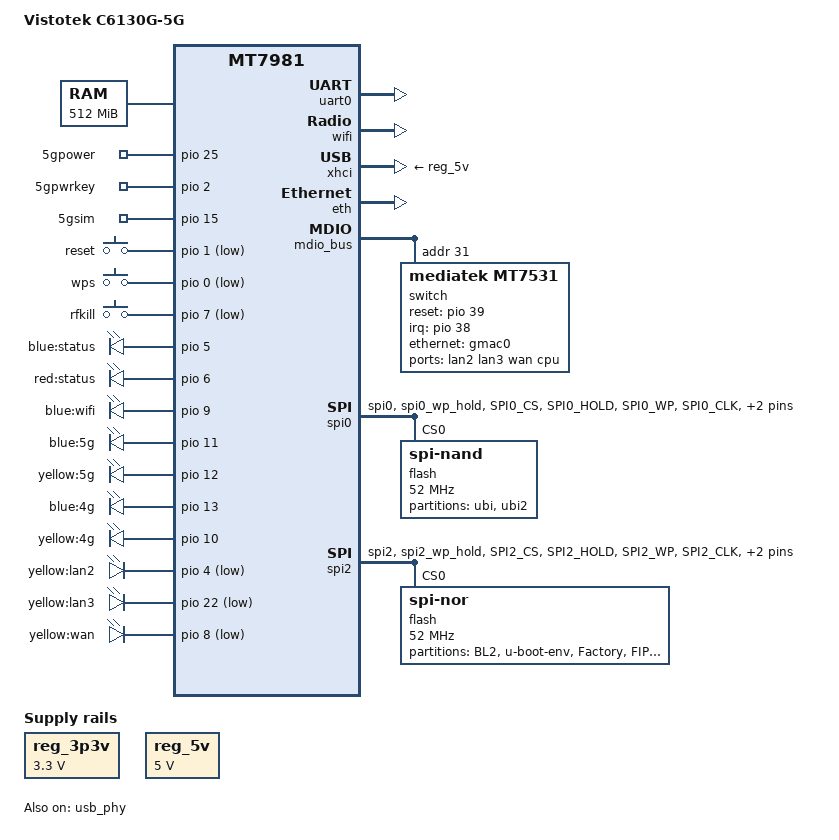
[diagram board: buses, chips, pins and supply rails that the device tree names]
// SPDX-License-Identifier: GPL-2.0-or-later OR MIT
/dts-v1/;

#include "mt7981b.dtsi"
#include <dt-bindings/gpio/gpio.h>
#include <dt-bindings/input/input.h>

/*
 * Vistotek C6130G-5G  (ODM: Wingtech WT7981P)
 *   SoC     : MediaTek MT7981B (Filogic 820), 512 MiB DDR3
 *   WiFi    : MT7976 2.4G+5G  -> mt76
 *   Switch  : MT7531 DSA (lan2, lan3, wan), 2.5G CPU port
 *   Modem   : Quectel RM520N-GL 5G over USB (QMI / quectel-CM), AT on ttyUSB2
 *   Storage : SPI-NAND (Winbond W25N01, 128 MiB) on &spi0  -> ubi/ubi2 rootfs
 *             SPI-NOR  (Winbond W25Q32, 4 MiB)   on &spi2  -> bootloader/factory
 *
 * Templates: gatonetworks-gdsp (modem/USB/NOR) + cudy-wr3000-nand (SPI-NAND/UBI).
 * Node labels (&spi0/&spi2/&mdio_bus/&mdio_pins/&wifi/&xhci/&pio) verified against
 * the OpenWrt mediatek/filogic mt7981b.dtsi.
 *
 * MAC: per-unit MAC lives in the 'wtinfo' factory partition (Factory MAC bytes are
 * zero). Only the JSON body of wtinfo is DES-encrypted — the MAC sits in the
 * plaintext header at offset 0x0a, so a plain nvmem fixed-layout cell reads it.
 *
 * Modem power-on (verified on hw): module starts on a 5gpwrkey pulse (1 -> 1s -> 0),
 * handled by /etc/init.d/modem-power. [VERIFY] remaining: MT7531 reset level.
 */

/ {
	model = "Vistotek C6130G-5G";
	compatible = "vistotek,c6130g", "mediatek,mt7981";

	aliases {
		serial0 = &uart0;	/* fixes ttyS0 console / procd stdio */
		led-boot = &led_status_blue;
		led-failsafe = &led_status_red;
		led-running = &led_status_blue;
		led-upgrade = &led_status_red;
	};

	chosen {
		stdout-path = "serial0:115200n8";
	};

	memory@40000000 {
		device_type = "memory";
		reg = <0 0x40000000 0 0x20000000>;	/* 512 MiB */
	};

	reg_3p3v: regulator-3p3v {
		compatible = "regulator-fixed";
		regulator-name = "fixed-3.3V";
		regulator-min-microvolt = <3300000>;
		regulator-max-microvolt = <3300000>;
		regulator-boot-on;
		regulator-always-on;
	};

	reg_5v: regulator-5v {
		compatible = "regulator-fixed";
		regulator-name = "fixed-5V";
		regulator-min-microvolt = <5000000>;
		regulator-max-microvolt = <5000000>;
		regulator-boot-on;
		regulator-always-on;
	};

	/*
	 * RM520N-GL control lines (from vendor gpio-export). Exported so a hotplug/
	 * init script can sequence power-on, mirroring stock behaviour.
	 *   5gpower  pin 25  main power enable
	 *   5gpwrkey pin 2   PWRKEY pulse
	 *   5gsim    pin 15  SIM select/enable
	 */
	gpio-export {
		compatible = "gpio-export";
		#size-cells = <0>;

		modem_power {
			gpio-export,name = "5gpower";
			gpio-export,output = <0>;	/* stock inits 0; modem is powered on via 5gpwrkey pulse */
			gpios = <&pio 25 GPIO_ACTIVE_HIGH>;
		};
		modem_pwrkey {
			gpio-export,name = "5gpwrkey";
			gpio-export,output = <0>;
			gpios = <&pio 2 GPIO_ACTIVE_HIGH>;
		};
		modem_sim {
			gpio-export,name = "5gsim";
			gpio-export,output = <1>;
			gpios = <&pio 15 GPIO_ACTIVE_HIGH>;
		};
	};

	keys {
		compatible = "gpio-keys";

		reset {
			label = "reset";
			linux,code = <KEY_RESTART>;
			gpios = <&pio 1 GPIO_ACTIVE_LOW>;
		};
		wps {
			label = "wps";
			linux,code = <KEY_WPS_BUTTON>;
			gpios = <&pio 0 GPIO_ACTIVE_LOW>;
		};
		rfkill {
			label = "rfkill";
			linux,code = <KEY_RFKILL>;
			gpios = <&pio 7 GPIO_ACTIVE_LOW>;
		};
	};

	leds {
		compatible = "gpio-leds";

		led_status_blue: led-blue   { label = "blue:status"; gpios = <&pio  5 GPIO_ACTIVE_HIGH>; };
		led_status_red: led-red    { label = "red:status";  gpios = <&pio  6 GPIO_ACTIVE_HIGH>; };
		led-wifi   { label = "blue:wifi";   gpios = <&pio  9 GPIO_ACTIVE_HIGH>; };
		led-5gblue { label = "blue:5g";     gpios = <&pio 11 GPIO_ACTIVE_HIGH>; };
		led-5gyel  { label = "yellow:5g";   gpios = <&pio 12 GPIO_ACTIVE_HIGH>; };
		led-4gblue { label = "blue:4g";     gpios = <&pio 13 GPIO_ACTIVE_HIGH>; };
		led-4gyel  { label = "yellow:4g";   gpios = <&pio 10 GPIO_ACTIVE_HIGH>; };
		/* port activity LEDs are yellow (verified on hardware); TODO: netdev triggers */
		led-lan2   { label = "yellow:lan2"; gpios = <&pio  4 GPIO_ACTIVE_LOW>;  };
		led-lan3   { label = "yellow:lan3"; gpios = <&pio 22 GPIO_ACTIVE_LOW>;  };
		led-wan    { label = "yellow:wan";  gpios = <&pio  8 GPIO_ACTIVE_LOW>;  };
	};
};

/* ---------------- Serial console ---------------- */
&uart0 {
	status = "okay";	/* base dtsi ships this disabled; required for ttyS0 console */
};

/* ---------------- WiFi (mt76) ---------------- */
&wifi {
	status = "okay";
	/* mt76 offsets the second band internally */
	nvmem-cells = <&eeprom_factory_0>, <&macaddr_wtinfo>;
	nvmem-cell-names = "eeprom", "mac-address";
};

/* ---------------- USB3 -> RM520N ---------------- */
&usb_phy {
	status = "okay";	/* base dtsi ships the T-PHY disabled; without it xhci defers forever */
};

&xhci {
	vusb33-supply = <&reg_3p3v>;
	vbus-supply = <&reg_5v>;
	status = "okay";
};

/* ---------------- Ethernet / DSA ---------------- */
&eth {
	pinctrl-names = "default";
	pinctrl-0 = <&mdio_pins>;
	status = "okay";

	gmac0: mac@0 {
		compatible = "mediatek,eth-mac";
		reg = <0>;
		phy-mode = "2500base-x";
		nvmem-cells = <&macaddr_wtinfo>;
		nvmem-cell-names = "mac-address";
		fixed-link {
			speed = <2500>;
			full-duplex;
			pause;
		};
	};
};

&mdio_bus {
	switch@31 {
		compatible = "mediatek,mt7531";
		reg = <31>;
		reset-gpios = <&pio 39 GPIO_ACTIVE_HIGH>;	/* [VERIFY] level */
		interrupt-controller;
		#interrupt-cells = <1>;
		interrupt-parent = <&pio>;
		interrupts = <38 IRQ_TYPE_LEVEL_HIGH>;

		ports {
			#address-cells = <1>;
			#size-cells = <0>;

			port@1 { reg = <1>; label = "lan2"; };
			port@2 { reg = <2>; label = "lan3"; };
			port@3 { reg = <3>; label = "wan"; };
			port@6 {
				reg = <6>;
				label = "cpu";
				ethernet = <&gmac0>;
				phy-mode = "2500base-x";
				fixed-link {
					speed = <2500>;
					full-duplex;
					pause;
				};
			};
		};
	};
};

/* ---------------- SPI-NAND (rootfs) ----------------
 * Stock MTK U-Boot boots the FIT from the 'kernel' volume of the UBI on 'ubi'.
 * 'ubi2' is the A/B backup slot. Root comes from the separate squashfs 'rootfs'
 * volume via the generic auto-attach ("linux,ubi") + rootfs auto-ubiblock patches
 * (no root= needed on the stock U-Boot cmdline).
 */
&spi0 {
	pinctrl-names = "default";
	pinctrl-0 = <&spi0_flash_pins>;
	status = "okay";

	flash@0 {
		compatible = "spi-nand";
		reg = <0>;
		spi-max-frequency = <52000000>;
		spi-tx-bus-width = <4>;
		spi-rx-bus-width = <4>;

		partitions {
			compatible = "fixed-partitions";
			#address-cells = <1>;
			#size-cells = <1>;

			partition@0 {
				label = "ubi";
				reg = <0x0 0x3800000>;		/* 56 MiB */
				compatible = "linux,ubi";
			};
			partition@3800000 {
				label = "ubi2";
				reg = <0x3800000 0x3800000>;	/* stock A/B backup */
			};
		};
	};
};

/* ---------------- SPI-NOR (bootloader / factory) ----------------
 * Left intact so the stock, working bootloader chain stays put.
 */
&spi2 {
	pinctrl-names = "default";
	pinctrl-0 = <&spi2_flash_pins>;
	status = "okay";

	flash@0 {
		compatible = "jedec,spi-nor";
		reg = <0>;
		spi-max-frequency = <52000000>;

		partitions {
			compatible = "fixed-partitions";
			#address-cells = <1>;
			#size-cells = <1>;

			partition@0     { label = "BL2";        reg = <0x000000 0x040000>; read-only; };
			partition@40000 { label = "u-boot-env"; reg = <0x040000 0x010000>; };

			partition@50000 {
				label = "Factory";
				reg = <0x050000 0x0b0000>;

				nvmem-layout {
					compatible = "fixed-layout";
					#address-cells = <1>;
					#size-cells = <1>;

					/* mt76 eeprom (default cal; MAC bytes here are zero) */
					eeprom_factory_0: eeprom@0 {
						reg = <0x0 0x1000>;
					};
				};
			};

			partition@100000 { label = "FIP";    reg = <0x100000 0x200000>; read-only; };
			partition@300000 { label = "woem";   reg = <0x300000 0x010000>; };

			partition@310000 {
				/* Wingtech factory blob: "WTINFO0001" | mac[6] @ 0x0a (plaintext)
				 * | md5 | DES-CBC json. The MAC is readable without decryption. */
				label = "wtinfo";
				reg = <0x310000 0x010000>;
				read-only;

				nvmem-layout {
					compatible = "fixed-layout";
					#address-cells = <1>;
					#size-cells = <1>;

					macaddr_wtinfo: macaddr@a {
						reg = <0xa 0x6>;
					};
				};
			};

			partition@320000 { label = "nvram";  reg = <0x320000 0x010000>; };
		};
	};
};

/* ---------------- flash pin groups ---------------- */
&pio {
	spi0_flash_pins: spi0-pins {
		mux {
			function = "spi";
			groups = "spi0", "spi0_wp_hold";
		};
		conf-pu {
			pins = "SPI0_CS", "SPI0_HOLD", "SPI0_WP";
			drive-strength = <MTK_DRIVE_8mA>;
			bias-pull-up = <MTK_PUPD_SET_R1R0_11>;
		};
		conf-pd {
			pins = "SPI0_CLK", "SPI0_MOSI", "SPI0_MISO";
			drive-strength = <MTK_DRIVE_8mA>;
			bias-pull-down = <MTK_PUPD_SET_R1R0_11>;
		};
	};

	spi2_flash_pins: spi2-pins {
		mux {
			function = "spi";
			groups = "spi2", "spi2_wp_hold";
		};
		conf-pu {
			pins = "SPI2_CS", "SPI2_HOLD", "SPI2_WP";
			drive-strength = <MTK_DRIVE_8mA>;
			bias-pull-up = <MTK_PUPD_SET_R1R0_11>;
		};
		conf-pd {
			pins = "SPI2_CLK", "SPI2_MOSI", "SPI2_MISO";
			drive-strength = <MTK_DRIVE_8mA>;
			bias-pull-down = <MTK_PUPD_SET_R1R0_11>;
		};
	};
};
